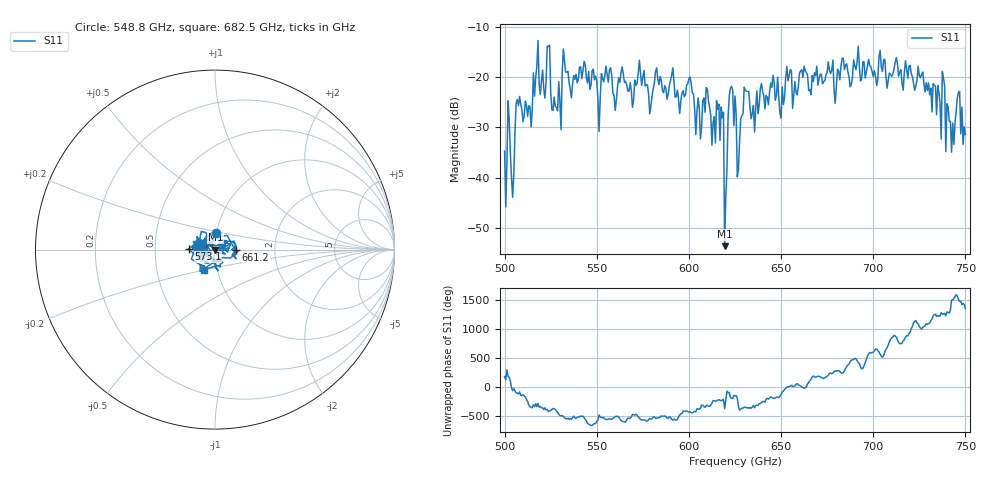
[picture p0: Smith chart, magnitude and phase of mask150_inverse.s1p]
!Created with skrf (http://scikit-rf.org).
# GHz S MA R 50.0
!freq magS11 angS11
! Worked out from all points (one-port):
!   401 points, 500 GHz to 750 GHz, reference 50 ohm
!   lowest |S11| = -53.6 dB at 619.4 GHz (marker M1), VSWR 1.00, Z = 50.2 - j0.0682 ohm
!   |S11| at or under -10 dB: start of sweep to end of sweep
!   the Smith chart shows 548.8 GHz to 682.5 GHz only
!   S11 on the Smith chart (normalised r, x): 548.8 GHz: 0.99, +0.19; 573.1 GHz: 0.74, +0.00; 661.2 GHz: 1.27, -0.00; 682.5 GHz: 0.86, -0.20
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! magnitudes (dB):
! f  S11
! 500 GHz  -34.7
! 504.4 GHz  -43.9
! 507.5 GHz  -25.7
! 513.8 GHz  -25.8
! 516.9 GHz  -20.0
! 523.8 GHz  -13.9
! 526.9 GHz  -24.0
! 531.2 GHz  -19.1
! 548.8 GHz  -20.5
! 562.5 GHz  -21.0
! 573.1 GHz  -16.7
! 593.8 GHz  -22.6
! 616.2 GHz  -25.4
! 619.4 GHz  -53.6
! 620.6 GHz  -38.5
! 622.5 GHz  -22.2
! 625 GHz  -23.7
! 627.5 GHz  -32.5
! 631.2 GHz  -22.8
! 635 GHz  -25.6
! 656.2 GHz  -26.2
! 661.2 GHz  -18.5
! 682.5 GHz  -17.8
! 687.5 GHz  -21.9
! 718.8 GHz  -20.2
! 742.5 GHz  -34.9
! 746.9 GHz  -22.8
! 750 GHz  -31.4
